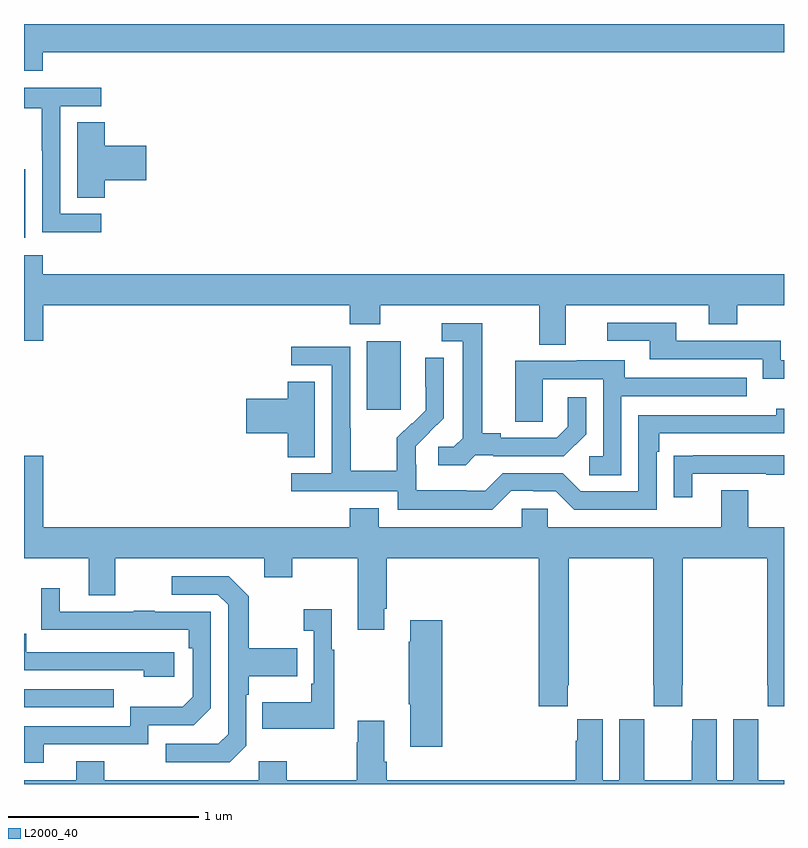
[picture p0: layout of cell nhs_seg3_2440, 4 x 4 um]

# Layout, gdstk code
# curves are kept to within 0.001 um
import gdstk
lib = gdstk.Library(unit=1e-6, precision=1e-09)
def R(c, l, rs):  # rectangles x0, y0, x1, y1
    for r in rs: c.add(gdstk.rectangle(r[:2], r[2:], *l))
def P(c, l, *ps):  # polygons
    for p in ps: c.add(gdstk.Polygon(p, *l))
L2000_40 = (2000, 40)

nhs_seg3_2440 = lib.new_cell('nhs_seg3_2440')
R(nhs_seg3_2440, L2000_40, [(237,694.803,237.473,694.899), (238.805,696.369,238.984,696.73), (237,697.274,237.007,697.635)])
P(nhs_seg3_2440, L2000_40, [(237.098,698.252),(241,698.252),(241,698.4),(237,698.4),(237,698.153),(237.098,698.153)],
  [(237.406,697.401),(237.192,697.401),(237.192,697.968),(237.406,697.968),(237.406,698.064),(237,698.064),(237,697.956),(237.094,697.956),(237.094,697.732),(237.096,697.732),(237.096,697.303),(237.406,697.303)],
  [(237.425,697.577),(237.643,697.577),(237.643,697.76),(237.425,697.76),(237.425,697.883),(237.281,697.883),(237.281,697.486),(237.425,697.486)],
  [(239.851,696.92),(240.605,696.92),(240.605,696.821),(240.753,696.821),(240.753,696.92),(241,696.92),(241,697.084),(237.098,697.084),(237.098,697.183),(237,697.183),(237,696.732),(237.1,696.732),(237.1,696.92),(238.715,696.92),(238.715,696.821),(238.875,696.821),(238.875,696.92),(239.711,696.92),(239.711,696.712),(239.851,696.712)],
  [(241,696.63),(240.984,696.63),(240.984,696.732),(240.433,696.732),(240.433,696.828),(240.069,696.828),(240.069,696.732),(240.293,696.732),(240.293,696.636),(240.888,696.636),(240.888,696.533),(241,696.533)],
  [(239.376,696.129),(239.47,696.129),(239.47,696.126),(239.842,696.126),(239.958,696.242),(239.958,696.436),(239.861,696.436),(239.861,696.279),(239.804,696.222),(239.509,696.222),(239.509,696.245),(239.413,696.245),(239.413,696.825),(239.199,696.825),(239.199,696.729),(239.309,696.729),(239.309,696.221),(239.262,696.174),(239.181,696.174),(239.181,696.077),(239.324,696.077)],
  [(239.565,695.943),(239.681,695.943),(239.681,695.94),(239.799,695.94),(239.895,695.844),(240.33,695.844),(240.33,696.149),(240.343,696.149),(240.343,696.246),(241,696.246),(241,696.376),(240.959,696.376),(240.959,696.342),(240.234,696.342),(240.234,695.94),(239.931,695.94),(239.835,696.036),(239.52,696.036),(239.427,695.943),(239.327,695.943),(239.327,695.947),(239.064,695.947),(239.064,696.081),(239.062,696.081),(239.062,696.178),(239.208,696.326),(239.208,696.644),(239.112,696.644),(239.112,696.49),(239.114,696.49),(239.114,696.368),(239.043,696.297),(239.04,696.3),(238.963,696.223),(238.963,696.049),(238.719,696.049),(238.719,696.272),(238.716,696.272),(238.716,696.702),(238.407,696.702),(238.407,696.603),(238.62,696.603),(238.62,696.036),(238.407,696.036),(238.407,695.94),(238.968,695.94),(238.968,695.843),(239.465,695.843)],
  [(240.144,696.441),(240.803,696.441),(240.803,696.537),(240.163,696.537),(240.163,696.631),(239.909,696.631),(239.909,696.627),(239.585,696.627),(239.585,696.307),(239.73,696.307),(239.73,696.531),(240.048,696.531),(240.048,696.126),(239.976,696.126),(239.976,696.025),(240.144,696.025)],
  [(238.531,696.518),(238.388,696.518),(238.388,696.428),(238.17,696.428),(238.17,696.245),(238.388,696.245),(238.388,696.121),(238.531,696.121)],
  [(240.517,696.033),(240.907,696.033),(240.907,696.028),(241,696.028),(241,696.129),(240.523,696.129),(240.523,696.128),(240.421,696.128),(240.421,695.91),(240.517,695.91)],
  [(239.757,695.85),(239.619,695.85),(239.619,695.752),(238.867,695.752),(238.867,695.851),(238.715,695.851),(238.715,695.752),(237.1,695.752),(237.1,696.127),(237,696.127),(237,695.588),(237.341,695.588),(237.341,695.394),(237.481,695.394),(237.481,695.588),(238.265,695.588),(238.265,695.489),(238.413,695.489),(238.413,695.588),(238.757,695.588),(238.757,695.211),(238.897,695.211),(238.897,695.323),(238.91,695.323),(238.91,695.588),(239.708,695.588),(239.708,694.809),(239.861,694.809),(239.861,694.921),(239.868,694.921),(239.868,695.588),(240.313,695.588),(240.313,694.921),(240.315,694.921),(240.315,694.809),(240.465,694.809),(240.465,694.921),(240.468,694.921),(240.468,695.588),(240.913,695.588),(240.913,694.921),(240.915,694.921),(240.915,694.809),(241,694.809),(241,695.752),(240.811,695.752),(240.811,695.947),(240.671,695.947),(240.671,695.752),(239.757,695.752)],
  [(238.17,694.602),(238.17,694.871),(238.183,694.871),(238.183,694.967),(238.439,694.967),(238.439,695.115),(238.183,695.115),(238.183,695.387),(238.077,695.493),(237.777,695.493),(237.777,695.397),(238.02,695.397),(238.074,695.343),(238.074,694.662),(238.023,694.611),(237.747,694.611),(237.747,694.515),(238.083,694.515)],
  [(237.103,694.608),(237.654,694.608),(237.654,694.71),(237.894,694.71),(237.984,694.8),(237.984,695.307),(237.689,695.307),(237.689,695.312),(237.577,695.312),(237.577,695.307),(237.187,695.307),(237.187,695.431),(237.091,695.431),(237.091,695.212),(237.868,695.211),(237.868,695.114),(237.888,695.114),(237.888,694.86),(237.835,694.807),(237.558,694.807),(237.558,694.704),(237,694.704),(237,694.512),(237.103,694.512)],
  [(238.633,695.107),(238.621,695.107),(238.621,695.32),(238.473,695.32),(238.473,695.207),(238.524,695.207),(238.524,694.927),(238.512,694.927),(238.512,694.831),(238.255,694.831),(238.255,694.691),(238.633,694.691)],
  [(239.201,695.263),(239.033,695.263),(239.033,695.15),(239.026,695.15),(239.026,694.819),(239.033,694.819),(239.033,694.596),(239.201,694.596)],
  [(237.79,695.094),(237.013,695.094),(237.013,695.191),(237,695.191),(237,694.998),(237.629,694.998),(237.629,694.964),(237.79,694.964)],
  [(241,694.42),(240.865,694.42),(240.865,694.628),(240.864,694.628),(240.864,694.741),(240.734,694.741),(240.734,694.42),(240.646,694.42),(240.646,694.741),(240.516,694.741),(240.516,694.628),(240.515,694.628),(240.515,694.42),(240.265,694.42),(240.265,694.628),(240.264,694.628),(240.264,694.741),(240.134,694.741),(240.134,694.42),(240.046,694.42),(240.046,694.741),(239.912,694.741),(239.912,694.628),(239.903,694.628),(239.903,694.42),(238.91,694.42),(238.91,694.516),(238.897,694.516),(238.897,694.732),(238.757,694.732),(238.757,694.619),(238.75,694.619),(238.75,694.42),(238.383,694.42),(238.383,694.519),(238.236,694.519),(238.236,694.42),(237.423,694.42),(237.423,694.519),(237.275,694.519),(237.275,694.42),(237,694.42),(237,694.4),(241,694.4)])

lib.write_gds('nhs_seg3_2440.gds')
